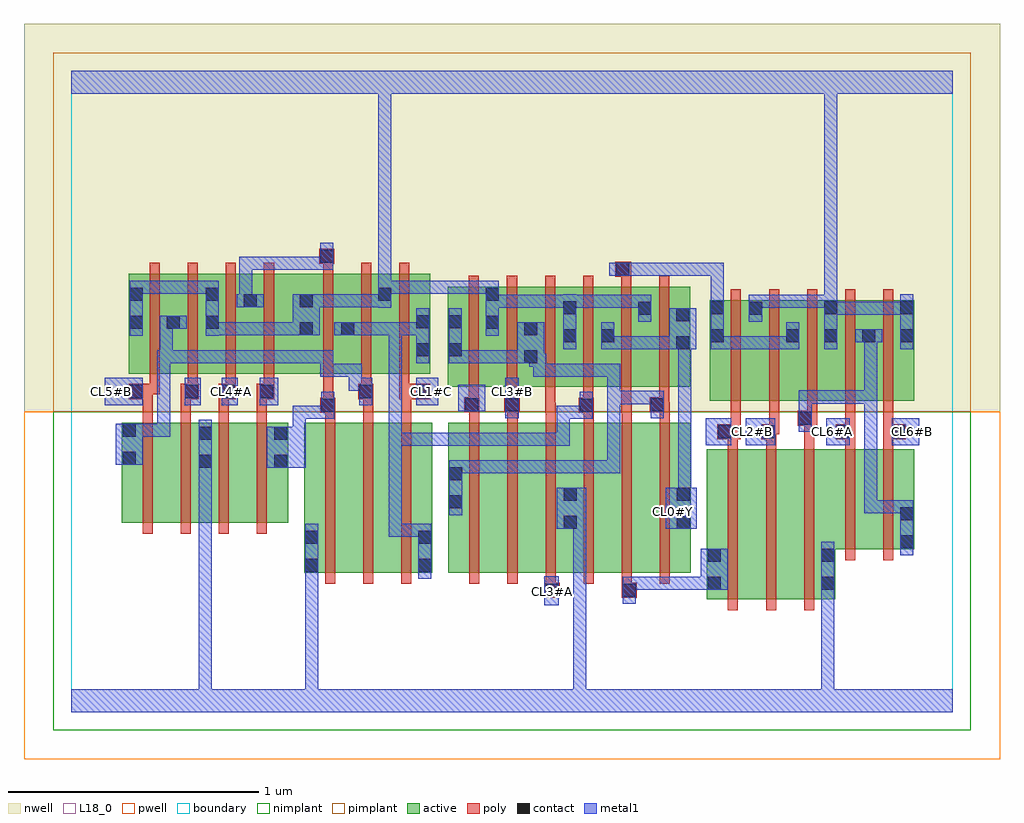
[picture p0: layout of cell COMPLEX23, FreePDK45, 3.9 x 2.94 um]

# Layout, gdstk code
import gdstk
lib = gdstk.Library(unit=1e-6, precision=1e-09)
def R(c, l, rs):  # rectangles x0, y0, x1, y1
    for r in rs: c.add(gdstk.rectangle(r[:2], r[2:], *l))
def A(c, l, x, y, w, h, nx, ny, dx, dy):  # array of equal rectangles
    R(c, l, [(x+i*dx, y+j*dy, x+i*dx+w, y+j*dy+h) for i in range(nx) for j in range(ny)])
active = (1, 0)
pwell = (2, 0)
nwell = (3, 0)
nimplant = (4, 0)
pimplant = (5, 0)
poly = (9, 0)
contact = (10, 0)
metal1 = (11, 0)
L18_0 = (18, 0)
boundary = (235, 0)

complex23 = lib.new_cell('COMPLEX23')
A(complex23, active, 2.85, 1.244, 0.212, 0.4, 3, 1, 0.152, 0)
R(complex23, active, [(2.538,0.45,2.718,1.05), (2.538,0.45,2.598,1.05), (2.718,0.45,2.87,1.05), (2.87,0.45,3.05,1.05), (2.99,0.484,3.05,0.656), (0.93,0.556,1.11,1.156), (0.93,0.556,0.99,1.156), (1.11,0.556,1.262,1.156), (1.262,0.556,1.442,1.156), (1.382,0.556,1.442,1.156), (1.506,0.556,1.686,1.156), (1.506,0.556,1.566,1.156), (1.686,0.556,1.838,1.156), (1.838,0.556,2.022,1.156), (1.962,0.556,2.142,1.156), (1.962,0.556,2.022,1.156), (2.142,0.556,2.294,1.156), (2.294,0.556,2.474,1.156), (2.414,0.556,2.474,1.156), (2.99,0.65,3.186,1.05), (3.186,0.65,3.366,1.05), (3.306,0.65,3.366,1.05), (0.202,0.756,0.262,1.156), (0.202,0.756,0.382,1.156), (0.382,0.756,0.566,1.156), (0.506,0.756,0.566,1.156), (0.506,0.756,0.686,1.156), (0.686,0.756,0.866,1.156), (0.806,0.756,0.866,1.156), (2.55,1.244,2.61,1.644), (2.55,1.244,2.762,1.644), (2.702,1.244,2.91,1.644), (3.306,1.244,3.366,1.644), (1.504,1.298,1.712,1.698), (1.504,1.298,1.564,1.644), (1.652,1.298,1.712,1.698), (1.652,1.298,1.864,1.698), (1.804,1.298,1.864,1.644), (1.804,1.298,2.02,1.698), (1.96,1.298,2.172,1.698), (1.96,1.298,2.02,1.644), (2.112,1.298,2.32,1.698), (2.112,1.298,2.172,1.644), (2.26,1.298,2.32,1.698), (2.26,1.298,2.472,1.698), (2.412,1.298,2.472,1.698), (3.002,1.338,3.062,1.644), (0.23,1.35,0.29,1.75), (0.23,1.35,0.438,1.75), (0.378,1.35,0.594,1.75), (0.534,1.35,0.746,1.75), (0.686,1.35,0.968,1.75), (0.908,1.35,1.134,1.75), (1.074,1.35,1.282,1.75), (1.222,1.35,1.434,1.75), (1.374,1.35,1.434,1.644), (2.702,1.366,2.762,1.644), (0.686,1.416,0.746,1.672), (1.222,1.416,1.282,1.75), (2.85,1.472,2.91,1.644), (3.154,1.472,3.214,1.644), (0.908,1.5,0.968,1.672), (1.074,1.5,1.134,1.644), (0.378,1.526,0.438,1.644), (0.534,1.526,0.594,1.698)])
R(complex23, pwell, [(-0.188,-0.188,3.708,1.2)])
R(complex23, nwell, [(-0.188,1.2,3.708,2.748)])
R(complex23, nimplant, [(-0.072,-0.072,3.592,1.2)])
R(complex23, pimplant, [(-0.072,1.2,3.592,2.632)])
A(complex23, poly, 2.622, 0.406, 0.04, 0.688, 3, 1, 0.152, 0)
A(complex23, poly, 1.014, 0.512, 0.04, 0.688, 3, 1, 0.152, 0)
A(complex23, poly, 1.59, 0.512, 0.04, 0.688, 6, 1, 0.152, 0)
A(complex23, poly, 0.286, 0.712, 0.04, 0.488, 4, 1, 0.152, 0)
A(complex23, poly, 0.286, 1.16, 0.04, 0.13, 4, 1, 0.152, 0)
A(complex23, poly, 1.894, 1.16, 0.04, 0.076, 3, 1, 0.152, 0)
A(complex23, poly, 2.634, 1.2, 0.04, 0.488, 5, 1, 0.152, 0)
A(complex23, poly, 1.588, 1.254, 0.04, 0.488, 6, 1, 0.152, 0)
A(complex23, poly, 0.314, 1.27, 0.04, 0.076, 4, 1, 0.152, 0)
A(complex23, poly, 0.314, 1.306, 0.04, 0.488, 4, 1, 0.152, 0)
A(complex23, poly, 1.006, 1.306, 0.04, 0.488, 3, 1, 0.152, 0)
R(complex23, poly, [(1.89,0.456,1.95,0.516), (2.198,0.456,2.258,0.516), (1.894,0.476,1.934,0.552), (2.198,0.476,2.238,0.552), (3.09,0.606,3.13,1.094), (3.242,0.606,3.282,1.094), (2.622,1.054,2.662,1.13), (2.774,1.054,2.814,1.13), (2.926,1.054,2.966,1.184), (3.09,1.054,3.13,1.13), (3.242,1.054,3.282,1.13), (2.58,1.09,2.674,1.15), (2.622,1.09,2.662,1.13), (2.622,1.09,2.662,1.13), (2.754,1.09,2.814,1.15), (3.052,1.09,3.13,1.15), (3.242,1.09,3.282,1.13), (3.242,1.09,3.282,1.13), (3.242,1.09,3.332,1.15), (2.634,1.11,2.674,1.24), (2.774,1.11,2.814,1.15), (2.774,1.11,2.826,1.15), (2.786,1.11,2.826,1.24), (3.09,1.11,3.13,1.24), (3.09,1.11,3.13,1.15), (3.09,1.11,3.13,1.15), (3.242,1.11,3.282,1.24), (2.9,1.144,2.978,1.204), (2.926,1.144,2.966,1.184), (2.926,1.144,2.966,1.184), (1.014,1.16,1.054,1.236), (1.166,1.16,1.206,1.29), (1.318,1.16,1.358,1.29), (1.59,1.16,1.63,1.238), (1.742,1.16,1.782,1.238), (2.35,1.16,2.39,1.238), (2.938,1.164,2.978,1.24), (0.994,1.196,1.054,1.256), (1.892,1.196,1.934,1.236), (1.892,1.196,1.932,1.294), (1.894,1.196,1.934,1.236), (1.894,1.196,1.934,1.236), (2.026,1.196,2.086,1.256), (2.196,1.196,2.238,1.236), (2.196,1.196,2.236,1.294), (2.198,1.196,2.238,1.236), (2.198,1.196,2.238,1.236), (1.57,1.198,1.63,1.258), (1.59,1.198,1.63,1.238), (1.59,1.198,1.63,1.238), (1.73,1.198,1.79,1.258), (1.742,1.198,1.782,1.238), (1.742,1.198,1.782,1.238), (2.31,1.198,2.388,1.258), (2.348,1.198,2.388,1.238), (2.348,1.198,2.39,1.238), (1.006,1.216,1.046,1.346), (1.006,1.216,1.046,1.256), (1.006,1.216,1.046,1.256), (2.044,1.216,2.084,1.256), (2.044,1.216,2.084,1.256), (2.044,1.216,2.084,1.294), (1.588,1.218,1.628,1.294), (1.74,1.218,1.78,1.294), (2.348,1.218,2.388,1.294), (0.23,1.25,0.326,1.31), (0.438,1.25,0.51,1.31), (0.59,1.25,0.658,1.31), (0.742,1.25,0.81,1.31), (1.146,1.25,1.206,1.31), (1.166,1.25,1.206,1.29), (1.166,1.25,1.206,1.29), (1.31,1.25,1.434,1.31), (1.318,1.25,1.358,1.29), (1.318,1.25,1.358,1.29), (0.286,1.27,0.326,1.31), (0.286,1.27,0.354,1.31), (0.466,1.27,0.506,1.31), (0.466,1.27,0.506,1.31), (0.618,1.27,0.658,1.31), (0.618,1.27,0.658,1.31), (0.77,1.27,0.81,1.31), (0.77,1.27,0.81,1.31), (1.158,1.27,1.198,1.346), (1.31,1.27,1.35,1.346), (2.196,1.702,2.236,1.778), (2.172,1.738,2.236,1.798), (1.006,1.754,1.046,1.83), (0.99,1.79,1.05,1.85)])
A(complex23, contact, 2.854, 1.476, 0.052, 0.052, 4, 1, 0.152, 0)
R(complex23, contact, [(1.894,0.46,1.946,0.512), (2.202,0.46,2.254,0.512), (2.542,0.488,2.594,0.54), (2.994,0.488,3.046,0.54), (0.934,0.56,0.986,0.612), (1.386,0.56,1.438,0.612), (2.542,0.6,2.594,0.652), (2.994,0.6,3.046,0.652), (3.31,0.654,3.362,0.706), (0.934,0.672,0.986,0.724), (1.386,0.672,1.438,0.724), (1.966,0.732,2.018,0.784), (2.418,0.732,2.47,0.784), (3.31,0.766,3.362,0.818), (1.51,0.814,1.562,0.866), (1.966,0.844,2.018,0.896), (2.418,0.844,2.47,0.896), (1.51,0.926,1.562,0.978), (0.51,0.976,0.562,1.028), (0.81,0.976,0.862,1.028), (0.206,0.988,0.258,1.04), (0.51,1.088,0.562,1.14), (0.81,1.088,0.862,1.14), (2.584,1.094,2.636,1.146), (2.758,1.094,2.81,1.146), (3.056,1.094,3.108,1.146), (3.276,1.094,3.328,1.146), (0.206,1.1,0.258,1.152), (2.904,1.148,2.956,1.2), (0.998,1.2,1.05,1.252), (2.03,1.2,2.082,1.252), (1.574,1.202,1.626,1.254), (1.734,1.202,1.786,1.254), (2.314,1.202,2.366,1.254), (0.234,1.254,0.286,1.306), (0.454,1.254,0.506,1.306), (0.602,1.254,0.654,1.306), (0.754,1.254,0.806,1.306), (1.15,1.254,1.202,1.306), (1.378,1.254,1.43,1.306), (1.808,1.392,1.86,1.444), (1.378,1.42,1.43,1.472), (1.508,1.42,1.56,1.472), (2.416,1.448,2.468,1.5), (1.964,1.476,2.016,1.528), (2.116,1.476,2.168,1.528), (2.554,1.476,2.606,1.528), (0.912,1.504,0.964,1.556), (1.078,1.504,1.13,1.556), (1.808,1.504,1.86,1.556), (0.234,1.53,0.286,1.582), (0.382,1.53,0.434,1.582), (0.538,1.53,0.59,1.582), (1.656,1.53,1.708,1.582), (1.378,1.532,1.43,1.584), (1.508,1.532,1.56,1.584), (2.416,1.56,2.468,1.612), (2.264,1.586,2.316,1.638), (2.706,1.586,2.758,1.638), (1.964,1.588,2.016,1.64), (2.554,1.588,2.606,1.64), (3.006,1.588,3.058,1.64), (3.31,1.588,3.362,1.64), (0.69,1.616,0.742,1.668), (0.912,1.616,0.964,1.668), (0.234,1.642,0.286,1.694), (0.538,1.642,0.59,1.694), (1.226,1.642,1.278,1.694), (1.656,1.642,1.708,1.694), (2.176,1.742,2.228,1.794), (0.994,1.794,1.046,1.846)])
R(complex23, metal1, [(0,0,3.52,0.092), (0.51,0.04,0.562,0.092), (0.51,0.04,0.562,0.092), (0.51,0.04,0.562,0.092), (0.51,0.04,0.562,0.092), (0.51,0.04,0.562,1), (0.934,0.04,0.986,0.092), (0.934,0.04,0.986,0.092), (0.934,0.04,0.986,0.584), (2.004,0.04,2.056,0.092), (2.004,0.04,2.056,0.092), (2.004,0.04,2.056,0.092), (2.004,0.04,2.056,0.092), (2.004,0.04,2.056,0.092), (2.004,0.04,2.056,0.092), (2.004,0.04,2.056,0.092), (2.004,0.04,2.056,0.092), (2.004,0.04,2.056,0.784), (2.994,0.04,3.046,0.092), (2.994,0.04,3.046,0.092), (2.994,0.04,3.046,0.092), (2.994,0.04,3.046,0.092), (2.994,0.04,3.046,0.092), (2.994,0.04,3.046,0.092), (2.994,0.04,3.046,0.092), (2.994,0.04,3.046,0.092), (2.994,0.04,3.046,0.512), (1.888,0.426,1.946,0.542), (2.202,0.432,2.254,0.54), (2.994,0.46,3.046,0.68), (2.202,0.488,2.302,0.54), (2.25,0.488,2.302,0.54), (2.25,0.488,2.412,0.54), (2.36,0.488,2.412,0.54), (2.36,0.488,2.412,0.54), (2.36,0.488,2.412,0.54), (2.36,0.488,2.566,0.54), (2.514,0.488,2.566,0.54), (2.514,0.488,2.566,0.54), (2.514,0.488,2.622,0.652), (0.934,0.532,0.986,0.584), (0.934,0.532,0.986,0.584), (0.934,0.532,0.986,0.584), (0.934,0.532,0.986,0.584), (0.934,0.532,0.986,0.584), (0.934,0.532,0.986,0.584), (0.934,0.532,0.986,0.752), (1.386,0.532,1.438,0.752), (3.31,0.626,3.362,0.846), (1.268,0.7,1.32,0.752), (1.268,0.7,1.438,0.752), (1.268,0.7,1.32,1.116), (1.386,0.7,1.438,0.752), (1.386,0.7,1.438,0.752), (1.938,0.732,2.056,0.896), (2.374,0.732,2.498,0.896), (1.51,0.786,1.562,1.006), (3.166,0.794,3.218,0.846), (3.166,0.794,3.362,0.846), (3.166,0.794,3.218,1.284), (3.31,0.794,3.362,0.846), (3.31,0.794,3.362,0.846), (3.31,0.794,3.362,0.846), (3.31,0.794,3.362,0.846), (2.424,0.844,2.476,0.896), (2.424,0.844,2.476,0.896), (2.424,0.844,2.476,0.912), (2.424,0.86,2.476,0.912), (2.424,0.86,2.476,0.912), (2.424,0.86,2.476,0.912), (2.424,0.86,2.476,1.5), (0.51,0.948,0.562,1), (0.51,0.948,0.562,1), (0.51,0.948,0.562,1), (0.51,0.948,0.562,1), (0.51,0.948,0.562,1), (0.51,0.948,0.562,1), (0.51,0.948,0.562,1), (0.51,0.948,0.562,1), (0.51,0.948,0.562,1.168), (1.51,0.954,1.562,1.006), (1.51,0.954,1.562,1.006), (1.51,0.954,1.672,1.006), (1.62,0.954,1.672,1.006), (1.62,0.954,1.672,1.006), (1.62,0.954,1.672,1.006), (1.62,0.954,1.852,1.006), (1.8,0.954,1.852,1.006), (1.8,0.954,1.852,1.006), (1.8,0.954,1.852,1.006), (1.8,0.954,2.056,1.006), (2.004,0.954,2.056,1.006), (2.004,0.954,2.056,1.006), (2.004,0.954,2.056,1.006), (2.004,0.954,2.192,1.006), (2.14,0.954,2.192,1.006), (2.14,0.954,2.192,1.282), (0.782,0.976,0.936,1.14), (0.178,0.988,0.286,1.152), (1.268,1.064,1.32,1.116), (1.268,1.064,1.43,1.116), (1.268,1.064,1.32,1.556), (1.378,1.064,1.43,1.116), (1.378,1.064,1.43,1.116), (1.378,1.064,1.43,1.116), (1.378,1.064,1.562,1.116), (1.51,1.064,1.562,1.116), (1.51,1.064,1.562,1.116), (1.51,1.064,1.562,1.116), (1.51,1.064,1.672,1.116), (1.62,1.064,1.672,1.116), (1.62,1.064,1.672,1.116), (1.62,1.064,1.672,1.116), (1.62,1.064,1.818,1.116), (1.766,1.064,1.818,1.116), (1.766,1.064,1.818,1.116), (1.766,1.064,1.818,1.116), (1.766,1.064,1.99,1.116), (1.938,1.064,1.99,1.224), (2.534,1.066,2.636,1.174), (2.694,1.066,2.81,1.174), (3.014,1.066,3.108,1.174), (3.276,1.066,3.386,1.174), (0.884,1.088,0.936,1.224), (0.234,1.1,0.286,1.152), (0.234,1.1,0.286,1.152), (0.234,1.1,0.396,1.152), (0.344,1.1,0.396,1.152), (0.344,1.1,0.396,1.444), (2.904,1.12,2.956,1.284), (0.884,1.172,0.936,1.224), (0.884,1.172,0.936,1.224), (0.884,1.172,0.936,1.224), (0.884,1.172,1.05,1.224), (0.998,1.172,1.05,1.28), (1.938,1.172,2.082,1.224), (2.03,1.172,2.082,1.28), (1.734,1.174,1.786,1.334), (2.314,1.174,2.366,1.282), (1.546,1.202,1.654,1.306), (0.134,1.226,0.286,1.334), (0.454,1.226,0.518,1.334), (0.602,1.226,0.666,1.334), (0.754,1.226,0.826,1.334), (1.15,1.226,1.202,1.334), (1.378,1.226,1.466,1.334), (2.14,1.23,2.192,1.282), (2.14,1.23,2.192,1.282), (2.14,1.23,2.192,1.282), (2.14,1.23,2.192,1.282), (2.14,1.23,2.302,1.282), (2.14,1.23,2.192,1.39), (2.25,1.23,2.302,1.282), (2.25,1.23,2.366,1.282), (2.904,1.232,2.978,1.284), (2.926,1.232,2.978,1.284), (2.926,1.232,3.218,1.284), (3.166,1.232,3.218,1.284), (3.166,1.232,3.218,1.284), (3.166,1.232,3.218,1.284), (3.166,1.232,3.218,1.528), (1.108,1.282,1.16,1.39), (1.108,1.282,1.202,1.334), (0.994,1.338,1.16,1.39), (0.994,1.338,1.046,1.444), (1.844,1.338,2.024,1.39), (1.844,1.338,1.896,1.43), (1.972,1.338,2.024,1.39), (1.972,1.338,2.024,1.39), (1.972,1.338,2.024,1.39), (1.972,1.338,2.072,1.39), (2.02,1.338,2.072,1.39), (2.02,1.338,2.192,1.39), (1.828,1.378,1.88,1.43), (1.828,1.378,1.896,1.43), (1.828,1.378,1.88,1.444), (0.344,1.392,0.396,1.444), (0.344,1.392,0.396,1.444), (0.344,1.392,0.406,1.444), (0.354,1.392,0.406,1.444), (0.354,1.392,0.406,1.444), (0.354,1.392,0.572,1.444), (0.354,1.392,0.406,1.582), (0.52,1.392,0.572,1.444), (0.52,1.392,0.572,1.444), (0.52,1.392,0.572,1.444), (0.52,1.392,0.724,1.444), (0.672,1.392,0.724,1.444), (0.672,1.392,0.724,1.444), (0.672,1.392,0.724,1.444), (0.672,1.392,0.936,1.444), (0.884,1.392,0.936,1.444), (0.884,1.392,0.936,1.444), (0.884,1.392,0.936,1.444), (0.884,1.392,1.046,1.444), (1.378,1.392,1.43,1.612), (1.508,1.392,1.56,1.444), (1.508,1.392,1.56,1.444), (1.508,1.392,1.56,1.612), (1.508,1.392,1.672,1.444), (1.62,1.392,1.672,1.444), (1.62,1.392,1.672,1.444), (1.62,1.392,1.672,1.444), (1.62,1.392,1.832,1.444), (1.78,1.392,1.888,1.556), (1.964,1.448,2.016,1.668), (2.116,1.448,2.168,1.556), (2.116,1.448,2.206,1.5), (2.154,1.448,2.206,1.5), (2.154,1.448,2.302,1.5), (2.25,1.448,2.302,1.5), (2.25,1.448,2.44,1.5), (2.388,1.448,2.44,1.5), (2.388,1.448,2.44,1.5), (2.388,1.448,2.496,1.612), (2.554,1.448,2.606,1.5), (2.554,1.448,2.606,1.5), (2.554,1.448,2.606,1.5), (2.554,1.448,2.606,1.5), (2.554,1.448,2.606,1.668), (2.554,1.448,2.716,1.5), (2.664,1.448,2.716,1.5), (2.664,1.448,2.716,1.5), (2.664,1.448,2.716,1.5), (2.664,1.448,2.906,1.5), (2.854,1.448,2.906,1.556), (3.006,1.448,3.058,1.668), (3.31,1.448,3.362,1.668), (3.13,1.476,3.238,1.528), (0.234,1.502,0.286,1.722), (0.538,1.502,0.59,1.722), (1.656,1.502,1.708,1.722), (0.538,1.504,0.59,1.556), (0.538,1.504,0.59,1.556), (0.538,1.504,0.724,1.556), (0.672,1.504,0.724,1.556), (0.672,1.504,0.724,1.556), (0.672,1.504,0.724,1.556), (0.672,1.504,0.936,1.556), (0.884,1.504,0.936,1.556), (0.884,1.504,0.936,1.556), (0.884,1.504,0.936,1.556), (0.884,1.504,0.936,1.556), (0.884,1.504,0.936,1.556), (0.884,1.504,0.936,1.556), (0.884,1.504,0.936,1.556), (0.884,1.504,0.936,1.556), (0.884,1.504,0.992,1.668), (1.05,1.504,1.158,1.556), (1.106,1.504,1.32,1.556), (1.268,1.504,1.32,1.556), (1.268,1.504,1.32,1.556), (1.268,1.504,1.32,1.556), (1.268,1.504,1.32,1.556), (1.268,1.504,1.32,1.556), (1.268,1.504,1.43,1.556), (1.378,1.504,1.43,1.556), (1.378,1.504,1.43,1.556), (0.354,1.53,0.462,1.582), (2.264,1.558,2.316,1.666), (2.706,1.558,2.758,1.666), (3.006,1.586,3.218,1.638), (3.166,1.586,3.218,1.638), (3.166,1.586,3.218,1.638), (3.166,1.586,3.218,1.638), (3.166,1.586,3.362,1.638), (3.31,1.586,3.362,1.638), (3.31,1.586,3.362,1.638), (1.226,1.614,1.278,1.722), (1.656,1.614,1.708,1.666), (1.656,1.614,1.708,1.666), (1.656,1.614,1.818,1.666), (1.766,1.614,1.818,1.666), (1.766,1.614,1.818,1.666), (1.766,1.614,1.818,1.666), (1.766,1.614,2.016,1.666), (1.964,1.614,2.056,1.666), (2.004,1.614,2.056,1.666), (2.004,1.614,2.192,1.666), (2.14,1.614,2.192,1.666), (2.14,1.614,2.192,1.666), (2.14,1.614,2.192,1.666), (2.14,1.614,2.316,1.666), (2.706,1.614,2.758,1.666), (2.706,1.614,2.758,1.666), (2.706,1.614,2.868,1.666), (2.816,1.614,2.868,1.666), (2.816,1.614,2.868,1.666), (2.816,1.614,2.868,1.666), (2.816,1.614,3.058,1.666), (0.662,1.616,0.77,1.668), (0.672,1.616,0.724,1.818), (0.94,1.616,1.092,1.668), (1.04,1.616,1.092,1.668), (1.04,1.616,1.102,1.668), (1.05,1.616,1.102,1.668), (1.05,1.616,1.278,1.668), (1.226,1.616,1.278,1.668), (1.226,1.616,1.278,1.668), (2.554,1.616,2.606,1.794), (3.006,1.616,3.058,1.668), (3.006,1.616,3.058,1.668), (3.006,1.616,3.058,2.52), (0.234,1.67,0.286,1.722), (0.234,1.67,0.286,1.722), (0.234,1.67,0.452,1.722), (0.4,1.67,0.452,1.722), (0.4,1.67,0.452,1.722), (0.4,1.67,0.452,1.722), (0.4,1.67,0.59,1.722), (0.538,1.67,0.59,1.722), (0.538,1.67,0.59,1.722), (1.226,1.67,1.278,1.722), (1.226,1.67,1.278,1.722), (1.226,1.67,1.278,1.722), (1.226,1.67,1.278,1.722), (1.226,1.67,1.43,1.722), (1.226,1.67,1.278,2.52), (1.378,1.67,1.43,1.722), (1.378,1.67,1.43,1.722), (1.378,1.67,1.43,1.722), (1.378,1.67,1.548,1.722), (1.496,1.67,1.548,1.722), (1.496,1.67,1.548,1.722), (1.496,1.67,1.548,1.722), (1.496,1.67,1.708,1.722), (2.148,1.742,2.256,1.794), (2.204,1.742,2.302,1.794), (2.25,1.742,2.302,1.794), (2.25,1.742,2.456,1.794), (2.404,1.742,2.456,1.794), (2.404,1.742,2.456,1.794), (2.404,1.742,2.456,1.794), (2.404,1.742,2.606,1.794), (2.554,1.742,2.606,1.794), (0.672,1.766,0.724,1.818), (0.672,1.766,0.724,1.818), (0.672,1.766,0.724,1.818), (0.672,1.766,0.936,1.818), (0.884,1.766,0.936,1.818), (0.884,1.766,0.936,1.818), (0.884,1.766,0.936,1.818), (0.884,1.766,1.046,1.818), (0.994,1.766,1.046,1.874), (0,2.468,3.52,2.56), (1.226,2.468,1.278,2.52), (1.226,2.468,1.278,2.52), (1.226,2.468,1.278,2.52), (1.226,2.468,1.278,2.52), (1.226,2.468,1.278,2.52), (1.226,2.468,1.278,2.52), (1.226,2.468,1.278,2.52), (1.226,2.468,1.278,2.52), (1.226,2.468,1.278,2.52), (1.226,2.468,1.278,2.52), (1.226,2.468,1.278,2.52), (1.226,2.468,1.278,2.52), (3.006,2.468,3.058,2.52), (3.006,2.468,3.058,2.52), (3.006,2.468,3.058,2.52), (3.006,2.468,3.058,2.52), (3.006,2.468,3.058,2.52), (3.006,2.468,3.058,2.52), (3.006,2.468,3.058,2.52), (3.006,2.468,3.058,2.52), (3.006,2.468,3.058,2.52), (3.006,2.468,3.058,2.52), (3.006,2.468,3.058,2.52), (3.006,2.468,3.058,2.52), (3.006,2.468,3.058,2.52), (3.006,2.468,3.058,2.52)])
A(complex23, L18_0, 2.694, 1.094, 0.052, 0.052, 3, 1, 0.32, 0)
A(complex23, L18_0, 0.454, 1.254, 0.052, 0.052, 3, 1, 0.16, 0)
A(complex23, L18_0, 1.414, 1.254, 0.052, 0.052, 3, 1, 0.16, 0)
R(complex23, L18_0, [(0,0,3.52,0.092), (0.51,0.04,0.562,0.092), (0.51,0.04,0.562,0.092), (0.51,0.04,0.562,0.092), (0.51,0.04,0.562,0.092), (0.51,0.04,0.562,1), (0.934,0.04,0.986,0.092), (0.934,0.04,0.986,0.092), (0.934,0.04,0.986,0.584), (2.004,0.04,2.056,0.092), (2.004,0.04,2.056,0.092), (2.004,0.04,2.056,0.092), (2.004,0.04,2.056,0.092), (2.004,0.04,2.056,0.092), (2.004,0.04,2.056,0.092), (2.004,0.04,2.056,0.092), (2.004,0.04,2.056,0.092), (2.004,0.04,2.056,0.784), (2.994,0.04,3.046,0.092), (2.994,0.04,3.046,0.092), (2.994,0.04,3.046,0.092), (2.994,0.04,3.046,0.092), (2.994,0.04,3.046,0.092), (2.994,0.04,3.046,0.092), (2.994,0.04,3.046,0.092), (2.994,0.04,3.046,0.092), (2.994,0.04,3.046,0.512), (1.888,0.426,1.946,0.542), (1.894,0.454,1.946,0.506), (2.994,0.46,3.046,0.68), (0.934,0.532,0.986,0.752), (0.934,0.532,0.986,0.584), (0.934,0.532,0.986,0.584), (0.934,0.532,0.986,0.584), (0.934,0.532,0.986,0.584), (0.934,0.532,0.986,0.584), (0.934,0.532,0.986,0.584), (1.938,0.732,2.056,0.896), (2.374,0.732,2.498,0.896), (2.374,0.774,2.426,0.826), (2.424,0.844,2.476,0.896), (2.424,0.844,2.476,0.896), (2.424,0.844,2.476,0.912), (2.424,0.86,2.476,0.912), (2.424,0.86,2.476,0.912), (2.424,0.86,2.476,0.912), (2.424,0.86,2.476,1.5), (0.51,0.948,0.562,1.168), (0.51,0.948,0.562,1), (0.51,0.948,0.562,1), (0.51,0.948,0.562,1), (0.51,0.948,0.562,1), (0.51,0.948,0.562,1), (0.51,0.948,0.562,1), (0.51,0.948,0.562,1), (0.51,0.948,0.562,1), (2.534,1.066,2.636,1.174), (2.694,1.066,2.81,1.174), (3.014,1.066,3.108,1.174), (3.276,1.066,3.386,1.174), (2.534,1.094,2.586,1.146), (1.734,1.174,1.786,1.334), (1.546,1.202,1.654,1.306), (0.134,1.226,0.286,1.334), (0.454,1.226,0.518,1.334), (0.602,1.226,0.666,1.334), (0.754,1.226,0.826,1.334), (1.378,1.226,1.466,1.334), (0.134,1.254,0.186,1.306), (1.964,1.448,2.016,1.668), (2.116,1.448,2.168,1.556), (2.116,1.448,2.206,1.5), (2.154,1.448,2.206,1.5), (2.154,1.448,2.302,1.5), (2.25,1.448,2.302,1.5), (2.25,1.448,2.44,1.5), (2.388,1.448,2.44,1.5), (2.388,1.448,2.44,1.5), (2.388,1.448,2.496,1.612), (3.006,1.448,3.058,1.668), (3.31,1.448,3.362,1.668), (0.234,1.502,0.286,1.722), (0.538,1.502,0.59,1.722), (1.656,1.502,1.708,1.722), (0.538,1.504,0.59,1.556), (0.538,1.504,0.59,1.556), (0.538,1.504,0.724,1.556), (0.672,1.504,0.724,1.556), (0.672,1.504,0.724,1.556), (0.672,1.504,0.724,1.556), (0.672,1.504,0.936,1.556), (0.884,1.504,0.936,1.556), (0.884,1.504,0.936,1.556), (0.884,1.504,0.936,1.556), (0.884,1.504,0.936,1.556), (0.884,1.504,0.936,1.556), (0.884,1.504,0.936,1.556), (0.884,1.504,0.936,1.556), (0.884,1.504,0.936,1.556), (0.884,1.504,0.992,1.668), (2.264,1.558,2.316,1.666), (2.706,1.558,2.758,1.666), (3.006,1.586,3.218,1.638), (3.166,1.586,3.218,1.638), (3.166,1.586,3.218,1.638), (3.166,1.586,3.218,1.638), (3.166,1.586,3.362,1.638), (3.31,1.586,3.362,1.638), (3.31,1.586,3.362,1.638), (1.226,1.614,1.278,1.722), (1.656,1.614,1.708,1.666), (1.656,1.614,1.708,1.666), (1.656,1.614,1.818,1.666), (1.766,1.614,1.818,1.666), (1.766,1.614,1.818,1.666), (1.766,1.614,1.818,1.666), (1.766,1.614,2.016,1.666), (1.964,1.614,2.056,1.666), (2.004,1.614,2.056,1.666), (2.004,1.614,2.192,1.666), (2.14,1.614,2.192,1.666), (2.14,1.614,2.192,1.666), (2.14,1.614,2.192,1.666), (2.14,1.614,2.316,1.666), (2.706,1.614,2.758,1.666), (2.706,1.614,2.758,1.666), (2.706,1.614,2.868,1.666), (2.816,1.614,2.868,1.666), (2.816,1.614,2.868,1.666), (2.816,1.614,2.868,1.666), (2.816,1.614,3.058,1.666), (0.94,1.616,1.092,1.668), (1.04,1.616,1.092,1.668), (1.04,1.616,1.102,1.668), (1.05,1.616,1.102,1.668), (1.05,1.616,1.278,1.668), (1.226,1.616,1.278,1.668), (1.226,1.616,1.278,1.668), (3.006,1.616,3.058,1.668), (3.006,1.616,3.058,1.668), (3.006,1.616,3.058,2.52), (0.234,1.67,0.286,1.722), (0.234,1.67,0.286,1.722), (0.234,1.67,0.452,1.722), (0.4,1.67,0.452,1.722), (0.4,1.67,0.452,1.722), (0.4,1.67,0.452,1.722), (0.4,1.67,0.59,1.722), (0.538,1.67,0.59,1.722), (0.538,1.67,0.59,1.722), (1.226,1.67,1.278,1.722), (1.226,1.67,1.278,1.722), (1.226,1.67,1.278,1.722), (1.226,1.67,1.278,1.722), (1.226,1.67,1.278,2.52), (1.226,1.67,1.43,1.722), (1.378,1.67,1.43,1.722), (1.378,1.67,1.43,1.722), (1.378,1.67,1.43,1.722), (1.378,1.67,1.548,1.722), (1.496,1.67,1.548,1.722), (1.496,1.67,1.548,1.722), (1.496,1.67,1.548,1.722), (1.496,1.67,1.708,1.722), (0,2.468,3.52,2.56), (1.226,2.468,1.278,2.52), (1.226,2.468,1.278,2.52), (1.226,2.468,1.278,2.52), (1.226,2.468,1.278,2.52), (1.226,2.468,1.278,2.52), (1.226,2.468,1.278,2.52), (1.226,2.468,1.278,2.52), (1.226,2.468,1.278,2.52), (1.226,2.468,1.278,2.52), (1.226,2.468,1.278,2.52), (1.226,2.468,1.278,2.52), (1.226,2.468,1.278,2.52), (3.006,2.468,3.058,2.52), (3.006,2.468,3.058,2.52), (3.006,2.468,3.058,2.52), (3.006,2.468,3.058,2.52), (3.006,2.468,3.058,2.52), (3.006,2.468,3.058,2.52), (3.006,2.468,3.058,2.52), (3.006,2.468,3.058,2.52), (3.006,2.468,3.058,2.52), (3.006,2.468,3.058,2.52), (3.006,2.468,3.058,2.52), (3.006,2.468,3.058,2.52), (3.006,2.468,3.058,2.52), (3.006,2.468,3.058,2.52)])
R(complex23, boundary, [(0,0,3.52,2.56)])
complex23.add(gdstk.Label('CL0#Y', (2.4,0.8), layer=11, texttype=0))
complex23.add(gdstk.Label('CL1#C', (1.44,1.28), layer=11, texttype=0))
complex23.add(gdstk.Label('CL2#B', (2.72,1.12), layer=11, texttype=0))
complex23.add(gdstk.Label('CL2#C', (2.56,1.12), layer=11, texttype=0))
complex23.add(gdstk.Label('CL3#A', (1.92,0.48), layer=11, texttype=0))
complex23.add(gdstk.Label('CL3#B', (1.76,1.28), layer=11, texttype=0))
complex23.add(gdstk.Label('CL3#C', (1.6,1.28), layer=11, texttype=0))
complex23.add(gdstk.Label('CL4#A', (0.64,1.28), layer=11, texttype=0))
complex23.add(gdstk.Label('CL4#B', (0.8,1.28), layer=11, texttype=0))
complex23.add(gdstk.Label('CL5#A', (0.48,1.28), layer=11, texttype=0))
complex23.add(gdstk.Label('CL5#B', (0.16,1.28), layer=11, texttype=0))
complex23.add(gdstk.Label('CL6#A', (3.04,1.12), layer=11, texttype=0))
complex23.add(gdstk.Label('CL6#B', (3.36,1.12), layer=11, texttype=0))

lib.write_gds('COMPLEX23.gds')
